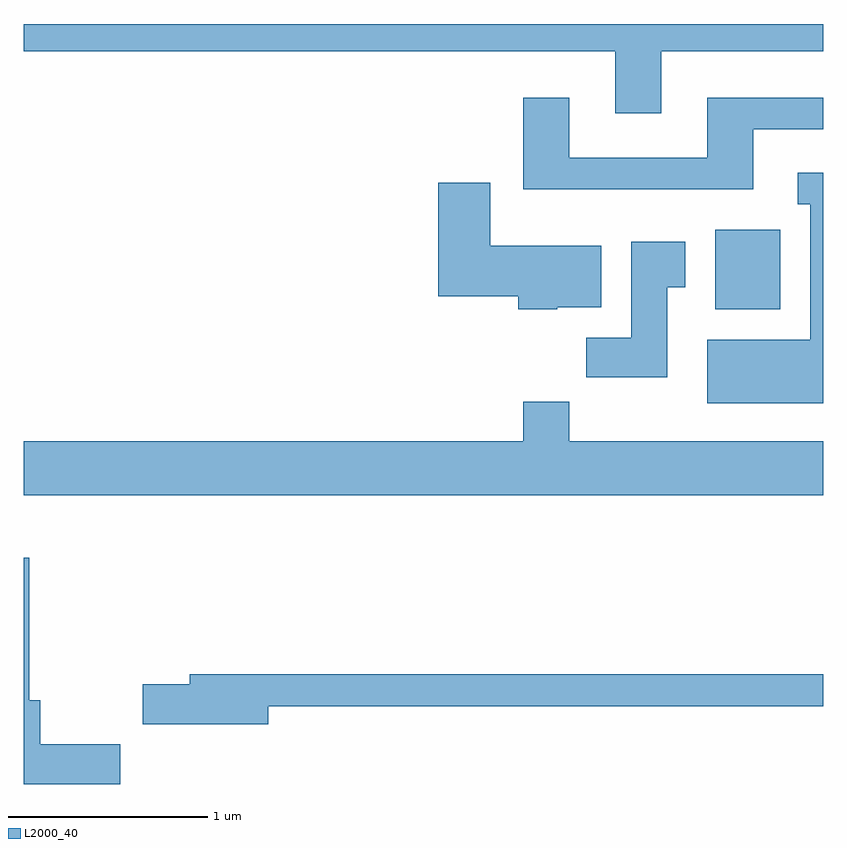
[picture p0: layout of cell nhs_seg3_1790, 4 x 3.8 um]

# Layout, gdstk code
import gdstk
lib = gdstk.Library(unit=1e-6, precision=1e-09)
def R(c, l, rs):  # rectangles x0, y0, x1, y1
    for r in rs: c.add(gdstk.rectangle(r[:2], r[2:], *l))
def P(c, l, *ps):  # polygons
    for p in ps: c.add(gdstk.Polygon(p, *l))
L2000_40 = (2000, 40)

nhs_seg3_1790 = lib.new_cell('nhs_seg3_1790')
R(nhs_seg3_1790, L2000_40, [(241.071,1162.466,241.394,1162.864)])
P(nhs_seg3_1790, L2000_40, [(240.799,1163.756),(241.611,1163.756),(241.611,1163.892),(237.611,1163.892),(237.611,1163.756),(240.571,1163.756),(240.571,1163.446),(240.799,1163.446)],
  [(241.259,1163.366),(241.611,1163.366),(241.611,1163.524),(241.031,1163.524),(241.031,1163.224),(240.339,1163.224),(240.339,1163.524),(240.111,1163.524),(240.111,1163.066),(241.259,1163.066)],
  [(241.611,1163.149),(241.483,1163.149),(241.483,1162.991),(241.546,1162.991),(241.546,1162.314),(241.031,1162.314),(241.031,1161.996),(241.611,1161.996)],
  [(240.28,1162.476),(240.499,1162.476),(240.499,1162.784),(239.944,1162.784),(239.944,1163.099),(239.686,1163.099),(239.686,1162.531),(240.086,1162.531),(240.086,1162.466),(240.28,1162.466)],
  [(240.829,1162.576),(240.919,1162.576),(240.919,1162.804),(240.651,1162.804),(240.651,1162.324),(240.426,1162.324),(240.426,1162.126),(240.829,1162.126)],
  [(241.611,1161.804),(240.339,1161.804),(240.339,1162.004),(240.111,1162.004),(240.111,1161.804),(237.611,1161.804),(237.611,1161.536),(241.611,1161.536)],
  [(238.094,1160.289),(237.694,1160.289),(237.694,1160.509),(237.639,1160.509),(237.639,1161.223),(237.611,1161.223),(237.611,1160.091),(238.094,1160.091)],
  [(238.834,1160.481),(241.611,1160.481),(241.611,1160.639),(238.441,1160.639),(238.441,1160.589),(238.206,1160.589),(238.206,1160.391),(238.834,1160.391)])

lib.write_gds('nhs_seg3_1790.gds')
